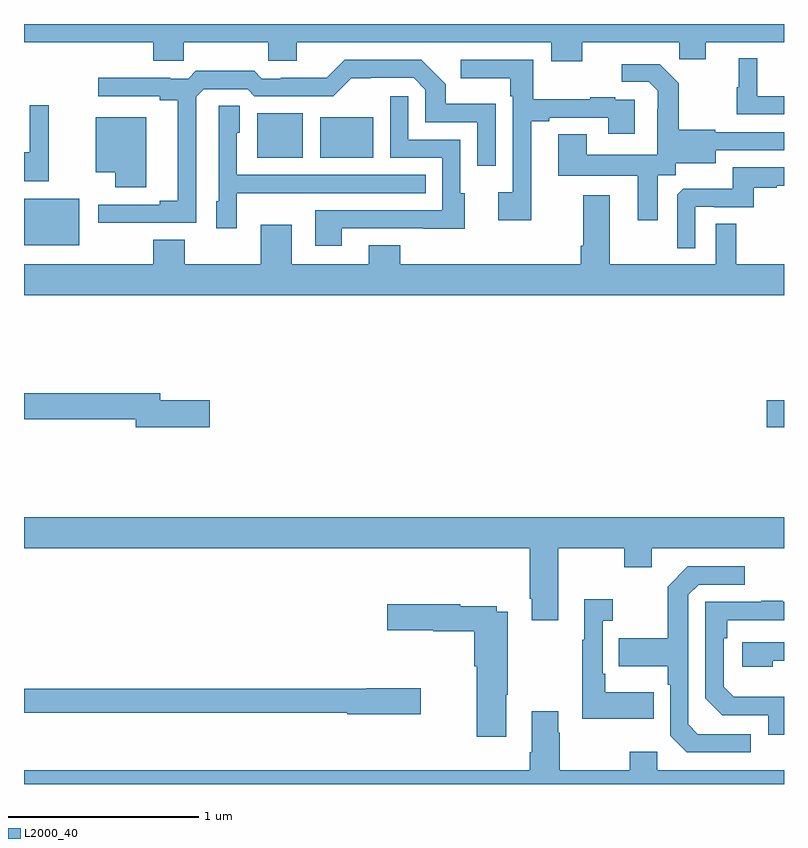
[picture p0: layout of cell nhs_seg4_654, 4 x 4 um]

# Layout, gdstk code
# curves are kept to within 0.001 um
import gdstk
lib = gdstk.Library(unit=1e-6, precision=1e-09)
def R(c, l, rs):  # rectangles x0, y0, x1, y1
    for r in rs: c.add(gdstk.rectangle(r[:2], r[2:], *l))
def P(c, l, *ps):  # polygons
    for p in ps: c.add(gdstk.Polygon(p, *l))
L2000_40 = (2000, 40)

nhs_seg4_654 = lib.new_cell('nhs_seg4_654')
R(nhs_seg4_654, L2000_40, [(146.91,810.778,147,810.92), (143,811.736,143.29,811.981), (144.227,812.195,144.466,812.431), (144.56,812.195,144.838,812.41)])
P(nhs_seg4_654, L2000_40, [(145.939,812.804),(146.449,812.804),(146.449,812.714),(146.587,812.714),(146.587,812.804),(147,812.804),(147,812.9),(143,812.9),(143,812.804),(143.681,812.804),(143.681,812.706),(143.841,812.706),(143.841,812.804),(144.286,812.804),(144.286,812.706),(144.436,812.706),(144.436,812.804),(145.775,812.804),(145.775,812.705),(145.939,812.705)],
  [(147,812.52),(146.86,812.52),(146.86,812.719),(146.762,812.719),(146.762,812.568),(146.751,812.568),(146.751,812.424),(147,812.424)],
  [(145.669,812.388),(145.765,812.388),(145.765,812.406),(146.075,812.406),(146.075,812.322),(146.215,812.322),(146.215,812.502),(146.111,812.502),(146.111,812.515),(145.979,812.515),(145.979,812.504),(145.681,812.504),(145.681,812.712),(145.299,812.712),(145.299,812.615),(145.56,812.615),(145.56,812.519),(145.572,812.519),(145.572,812.014),(145.497,812.014),(145.497,811.866),(145.669,811.866)],
  [(143.907,812.517),(143.946,812.556),(144.177,812.556),(144.213,812.52),(144.627,812.52),(144.722,812.615),(145.05,812.616),(145.113,812.553),(145.113,812.382),(145.386,812.382),(145.386,812.154),(145.482,812.154),(145.482,812.479),(145.221,812.479),(145.221,812.582),(145.09,812.712),(144.687,812.712),(144.593,812.618),(144.352,812.618),(144.352,812.613),(144.252,812.613),(144.213,812.653),(143.905,812.653),(143.865,812.613),(143.771,812.613),(143.771,812.618),(143.391,812.618),(143.391,812.52),(143.714,812.52),(143.714,812.498),(143.81,812.498),(143.81,811.97),(143.714,811.97),(143.714,811.95),(143.391,811.95),(143.391,811.854),(143.907,811.854)],
  [(146.335,812.104),(146.43,812.104),(146.43,812.168),(146.641,812.168),(146.641,812.235),(147,812.235),(147,812.331),(146.637,812.331),(146.637,812.344),(146.445,812.344),(146.445,812.589),(146.345,812.689),(146.145,812.689),(146.145,812.595),(146.289,812.595),(146.336,812.548),(146.336,812.453),(146.334,812.453),(146.334,812.212),(145.963,812.212),(145.963,812.321),(145.811,812.321),(145.811,812.102),(146.231,812.102),(146.231,811.866),(146.335,811.866)],
  [(144.673,811.824),(145.103,811.824),(145.103,811.823),(145.321,811.823),(145.321,812.01),(145.296,812.01),(145.296,812.292),(145.023,812.292),(145.023,812.521),(144.927,812.521),(144.927,812.196),(145.2,812.196),(145.2,811.92),(144.533,811.92),(144.533,811.734),(144.673,811.734)],
  [(143.13,812.473),(143.03,812.473),(143.03,812.225),(143,812.225),(143,812.072),(143.13,812.072)],
  [(144.12,812.009),(144.437,812.009),(144.437,812.01),(145.115,812.01),(145.115,812.106),(144.12,812.106),(144.12,812.328),(144.136,812.328),(144.136,812.471),(144.024,812.471),(144.024,811.968),(144.011,811.968),(144.011,811.824),(144.12,811.824)],
  [(143.644,812.41),(143.378,812.41),(143.378,812.12),(143.479,812.12),(143.479,812.04),(143.644,812.04)],
  [(146.532,811.938),(146.632,811.938),(146.632,811.935),(146.84,811.935),(146.84,812.037),(146.963,812.037),(146.963,812.048),(147,812.048),(147,812.145),(146.73,812.145),(146.73,812.033),(146.471,812.033),(146.439,812.001),(146.439,811.721),(146.532,811.721)],
  [(147,811.636),(146.749,811.636),(146.749,811.85),(146.64,811.85),(146.64,811.636),(146.083,811.636),(146.083,811.999),(145.943,811.999),(145.943,811.732),(145.931,811.732),(145.931,811.636),(144.979,811.636),(144.979,811.735),(144.815,811.735),(144.815,811.636),(144.409,811.636),(144.409,811.843),(144.245,811.843),(144.245,811.636),(143.845,811.636),(143.845,811.765),(143.681,811.765),(143.681,811.636),(143,811.636),(143,811.472),(147,811.472)],
  [(143.977,810.92),(143.716,810.92),(143.716,810.956),(143,810.956),(143,810.82),(143.588,810.82),(143.588,810.778),(143.977,810.778)],
  [(145.813,810.14),(146.158,810.14),(146.158,810.041),(146.305,810.041),(146.305,810.14),(147,810.14),(147,810.304),(143,810.304),(143,810.14),(145.661,810.14),(145.661,809.875),(145.673,809.875),(145.673,809.763),(145.813,809.763)],
  [(146.824,809.163),(146.547,809.163),(146.496,809.214),(146.496,809.895),(146.55,809.949),(146.794,809.949),(146.794,810.045),(146.493,810.045),(146.388,809.939),(146.388,809.667),(146.131,809.667),(146.131,809.519),(146.388,809.519),(146.388,809.423),(146.4,809.423),(146.4,809.154),(146.487,809.067),(146.824,809.067)],
  [(146.315,809.383),(146.059,809.383),(146.059,809.479),(146.046,809.479),(146.046,809.759),(146.098,809.759),(146.098,809.872),(145.949,809.872),(145.949,809.659),(145.938,809.659),(145.938,809.243),(146.315,809.243)],
  [(147,809.359),(146.735,809.359),(146.682,809.412),(146.682,809.666),(146.702,809.666),(146.702,809.763),(147,809.763),(147,809.859),(146.993,809.859),(146.993,809.864),(146.881,809.864),(146.881,809.859),(146.586,809.859),(146.586,809.352),(146.676,809.262),(146.916,809.262),(146.916,809.16),(147,809.16)],
  [(145.537,809.371),(145.545,809.371),(145.545,809.806),(145.488,809.806),(145.488,809.835),(145.296,809.835),(145.296,809.847),(144.912,809.847),(144.912,809.71),(145.155,809.71),(145.155,809.705),(145.37,809.705),(145.37,809.521),(145.382,809.521),(145.382,809.148),(145.537,809.148)],
  [(146.942,809.55),(147,809.55),(147,809.646),(146.781,809.646),(146.781,809.516),(146.942,809.516)],
  [(145.087,809.403),(144.802,809.403),(144.802,809.402),(143,809.402),(143,809.274),(144.702,809.274),(144.702,809.266),(145.087,809.266)],
  [(147,808.972),(146.334,808.972),(146.334,809.071),(146.188,809.071),(146.188,808.972),(145.821,808.972),(145.821,809.171),(145.813,809.171),(145.813,809.284),(145.673,809.284),(145.673,809.068),(145.661,809.068),(145.661,808.972),(143,808.972),(143,808.9),(147,808.9)])

lib.write_gds('nhs_seg4_654.gds')
